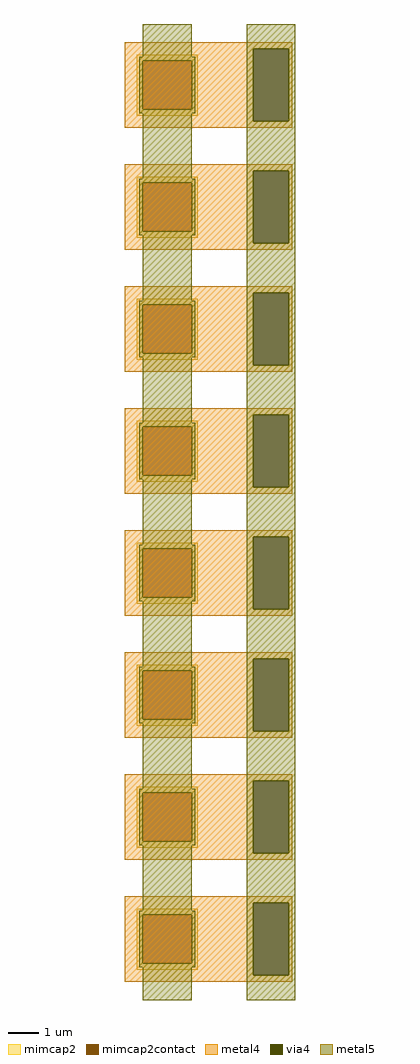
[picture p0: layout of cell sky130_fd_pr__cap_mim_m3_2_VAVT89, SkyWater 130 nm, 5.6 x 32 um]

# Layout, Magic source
magic
tech sky130A
magscale 1 2
<< metal4 >>
rect -549 3039 549 3080
rect -549 2561 293 3039
rect 529 2561 549 3039
rect -549 2520 549 2561
rect -549 2239 549 2280
rect -549 1761 293 2239
rect 529 1761 549 2239
rect -549 1720 549 1761
rect -549 1439 549 1480
rect -549 961 293 1439
rect 529 961 549 1439
rect -549 920 549 961
rect -549 639 549 680
rect -549 161 293 639
rect 529 161 549 639
rect -549 120 549 161
rect -549 -161 549 -120
rect -549 -639 293 -161
rect 529 -639 549 -161
rect -549 -680 549 -639
rect -549 -961 549 -920
rect -549 -1439 293 -961
rect 529 -1439 549 -961
rect -549 -1480 549 -1439
rect -549 -1761 549 -1720
rect -549 -2239 293 -1761
rect 529 -2239 549 -1761
rect -549 -2280 549 -2239
rect -549 -2561 549 -2520
rect -549 -3039 293 -2561
rect 529 -3039 549 -2561
rect -549 -3080 549 -3039
<< via4 >>
rect 293 2561 529 3039
rect 293 1761 529 2239
rect 293 961 529 1439
rect 293 161 529 639
rect 293 -639 529 -161
rect 293 -1439 529 -961
rect 293 -2239 529 -1761
rect 293 -3039 529 -2561
<< mimcap2 >>
rect -469 2960 -69 3000
rect -469 2640 -429 2960
rect -109 2640 -69 2960
rect -469 2600 -69 2640
rect -469 2160 -69 2200
rect -469 1840 -429 2160
rect -109 1840 -69 2160
rect -469 1800 -69 1840
rect -469 1360 -69 1400
rect -469 1040 -429 1360
rect -109 1040 -69 1360
rect -469 1000 -69 1040
rect -469 560 -69 600
rect -469 240 -429 560
rect -109 240 -69 560
rect -469 200 -69 240
rect -469 -240 -69 -200
rect -469 -560 -429 -240
rect -109 -560 -69 -240
rect -469 -600 -69 -560
rect -469 -1040 -69 -1000
rect -469 -1360 -429 -1040
rect -109 -1360 -69 -1040
rect -469 -1400 -69 -1360
rect -469 -1840 -69 -1800
rect -469 -2160 -429 -1840
rect -109 -2160 -69 -1840
rect -469 -2200 -69 -2160
rect -469 -2640 -69 -2600
rect -469 -2960 -429 -2640
rect -109 -2960 -69 -2640
rect -469 -3000 -69 -2960
<< mimcap2contact >>
rect -429 2640 -109 2960
rect -429 1840 -109 2160
rect -429 1040 -109 1360
rect -429 240 -109 560
rect -429 -560 -109 -240
rect -429 -1360 -109 -1040
rect -429 -2160 -109 -1840
rect -429 -2960 -109 -2640
<< metal5 >>
rect -429 2984 -109 3200
rect 251 3039 571 3200
rect -453 2960 -85 2984
rect -453 2640 -429 2960
rect -109 2640 -85 2960
rect -453 2616 -85 2640
rect -429 2184 -109 2616
rect 251 2561 293 3039
rect 529 2561 571 3039
rect 251 2239 571 2561
rect -453 2160 -85 2184
rect -453 1840 -429 2160
rect -109 1840 -85 2160
rect -453 1816 -85 1840
rect -429 1384 -109 1816
rect 251 1761 293 2239
rect 529 1761 571 2239
rect 251 1439 571 1761
rect -453 1360 -85 1384
rect -453 1040 -429 1360
rect -109 1040 -85 1360
rect -453 1016 -85 1040
rect -429 584 -109 1016
rect 251 961 293 1439
rect 529 961 571 1439
rect 251 639 571 961
rect -453 560 -85 584
rect -453 240 -429 560
rect -109 240 -85 560
rect -453 216 -85 240
rect -429 -216 -109 216
rect 251 161 293 639
rect 529 161 571 639
rect 251 -161 571 161
rect -453 -240 -85 -216
rect -453 -560 -429 -240
rect -109 -560 -85 -240
rect -453 -584 -85 -560
rect -429 -1016 -109 -584
rect 251 -639 293 -161
rect 529 -639 571 -161
rect 251 -961 571 -639
rect -453 -1040 -85 -1016
rect -453 -1360 -429 -1040
rect -109 -1360 -85 -1040
rect -453 -1384 -85 -1360
rect -429 -1816 -109 -1384
rect 251 -1439 293 -961
rect 529 -1439 571 -961
rect 251 -1761 571 -1439
rect -453 -1840 -85 -1816
rect -453 -2160 -429 -1840
rect -109 -2160 -85 -1840
rect -453 -2184 -85 -2160
rect -429 -2616 -109 -2184
rect 251 -2239 293 -1761
rect 529 -2239 571 -1761
rect 251 -2561 571 -2239
rect -453 -2640 -85 -2616
rect -453 -2960 -429 -2640
rect -109 -2960 -85 -2640
rect -453 -2984 -85 -2960
rect -429 -3200 -109 -2984
rect 251 -3039 293 -2561
rect 529 -3039 571 -2561
rect 251 -3200 571 -3039
<< properties >>
string FIXED_BBOX -549 2520 11 3080
string gencell sky130_fd_pr__cap_mim_m3_2
string library sky130
string parameters w 2.0 l 2.0 val 9.52 carea 2.00 cperi 0.19 nx 1 ny 8 dummy 0 square 0 lmin 2.00 wmin 2.00 lmax 30.0 wmax 30.0 dc 0 bconnect 1 tconnect 1 ccov 100
<< end >>
